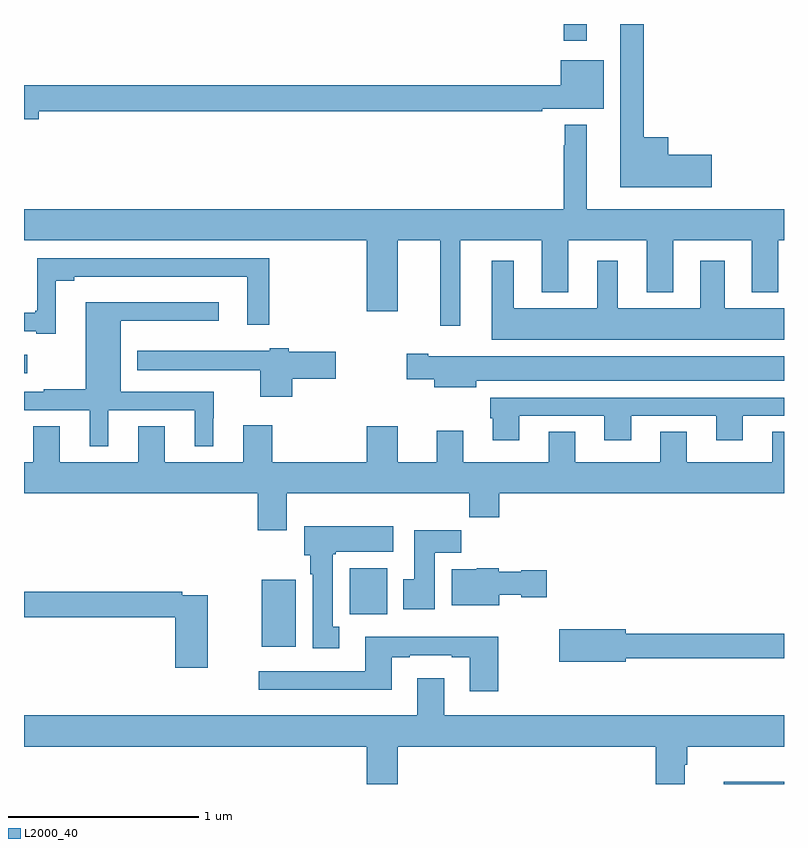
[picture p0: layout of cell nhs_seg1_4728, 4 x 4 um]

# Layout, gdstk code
import gdstk
lib = gdstk.Library(unit=1e-6, precision=1e-09)
def R(c, l, rs):  # rectangles x0, y0, x1, y1
    for r in rs: c.add(gdstk.rectangle(r[:2], r[2:], *l))
def P(c, l, *ps):  # polygons
    for p in ps: c.add(gdstk.Polygon(p, *l))
L2000_40 = (2000, 40)

nhs_seg1_4728 = lib.new_cell('nhs_seg1_4728')
R(nhs_seg1_4728, L2000_40, [(370.682,554.199,371,554.21), (368.252,554.922,368.431,555.274), (368.714,555.092,368.911,555.334), (367,556.362,367.018,556.458), (369.84,558.111,369.961,558.199)])
P(nhs_seg1_4728, L2000_40, [(370.621,557.51),(370.39,557.51),(370.39,557.602),(370.261,557.602),(370.261,558.199),(370.139,558.199),(370.139,557.339),(370.621,557.339)],
  [(367.078,557.74),(369.728,557.74),(369.728,557.753),(370.051,557.753),(370.051,558.007),(369.824,558.007),(369.824,557.876),(367,557.876),(367,557.698),(367.078,557.698)],
  [(367,557.06),(368.804,557.06),(368.804,556.686),(368.968,556.686),(368.968,557.06),(369.191,557.06),(369.191,556.611),(369.295,556.611),(369.295,557.06),(369.725,557.06),(369.725,556.787),(369.865,556.787),(369.865,557.06),(370.277,557.06),(370.277,556.787),(370.417,556.787),(370.417,557.06),(370.829,557.06),(370.829,556.787),(370.969,556.787),(370.969,557.06),(371,557.06),(371,557.224),(369.961,557.224),(369.961,557.668),(369.846,557.668),(369.846,557.561),(369.84,557.561),(369.84,557.224),(367,557.224)],
  [(367.168,556.849),(367.264,556.849),(367.264,556.868),(368.174,556.868),(368.174,556.617),(368.291,556.617),(368.291,556.965),(367.07,556.965),(367.07,556.69),(367.059,556.69),(367.059,556.679),(367,556.679),(367,556.581),(367.064,556.581),(367.064,556.569),(367.168,556.569)],
  [(371,556.702),(370.687,556.702),(370.687,556.954),(370.559,556.954),(370.559,556.702),(370.126,556.702),(370.126,556.954),(370.016,556.954),(370.016,556.702),(369.577,556.702),(369.577,556.954),(369.461,556.954),(369.461,556.538),(371,556.538)],
  [(367.444,556.167),(367.898,556.167),(367.898,555.977),(367.996,555.977),(367.996,556.124),(367.998,556.124),(367.998,556.263),(367.51,556.263),(367.51,556.637),(368.026,556.637),(368.026,556.735),(367.325,556.735),(367.325,556.276),(367.105,556.276),(367.105,556.263),(367,556.263),(367,556.167),(367.346,556.167),(367.346,555.977),(367.444,555.977)],
  [(368.411,556.333),(368.641,556.333),(368.641,556.475),(368.394,556.475),(368.394,556.493),(368.294,556.493),(368.294,556.48),(367.595,556.48),(367.595,556.376),(368.243,556.376),(368.243,556.236),(368.411,556.236)],
  [(369.379,556.322),(371,556.322),(371,556.45),(369.127,556.45),(369.127,556.463),(369.015,556.463),(369.015,556.328),(369.158,556.328),(369.158,556.286),(369.379,556.286)],
  [(369.607,556.137),(370.055,556.137),(370.055,556.008),(370.195,556.008),(370.195,556.137),(370.643,556.137),(370.643,556.008),(370.783,556.008),(370.783,556.137),(371,556.137),(371,556.233),(369.455,556.233),(369.455,556.125),(369.467,556.125),(369.467,556.008),(369.607,556.008)],
  [(368.383,555.728),(369.343,555.728),(369.343,555.604),(369.5,555.604),(369.5,555.728),(371,555.728),(371,556.052),(370.937,556.052),(370.937,555.892),(370.489,555.892),(370.489,556.052),(370.349,556.052),(370.349,555.892),(369.901,555.892),(369.901,556.052),(369.761,556.052),(369.761,555.892),(369.313,555.892),(369.313,556.057),(369.173,556.057),(369.173,555.892),(368.968,555.892),(368.968,556.081),(368.804,556.081),(368.804,555.892),(368.306,555.892),(368.306,556.087),(368.153,556.087),(368.153,555.892),(367.741,555.892),(367.741,556.082),(367.601,556.082),(367.601,555.892),(367.189,555.892),(367.189,556.082),(367.049,556.082),(367.049,555.892),(367,555.892),(367,555.728),(368.231,555.728),(368.231,555.534),(368.383,555.534)],
  [(368.659,555.026),(368.626,555.026),(368.626,555.409),(368.64,555.409),(368.64,555.422),(368.944,555.422),(368.944,555.556),(368.474,555.556),(368.474,555.402),(368.506,555.402),(368.506,555.302),(368.519,555.302),(368.519,554.913),(368.659,554.913)],
  [(369.163,555.416),(369.302,555.416),(369.302,555.535),(369.053,555.535),(369.053,555.276),(368.996,555.276),(368.996,555.12),(369.163,555.12)],
  [(369.502,555.194),(369.618,555.194),(369.618,555.182),(369.751,555.182),(369.751,555.324),(369.618,555.324),(369.618,555.316),(369.498,555.316),(369.498,555.334),(369.384,555.334),(369.384,555.328),(369.251,555.328),(369.251,555.14),(369.502,555.14)],
  [(367.966,555.192),(367.832,555.192),(367.832,555.212),(367,555.212),(367,555.076),(367.796,555.076),(367.796,554.811),(367.966,554.811)],
  [(370.168,554.862),(371,554.862),(371,554.99),(370.168,554.99),(370.168,555.014),(369.816,555.014),(369.816,554.843),(370.168,554.843)],
  [(369.495,554.974),(368.795,554.974),(368.795,554.793),(368.235,554.793),(368.235,554.696),(368.935,554.696),(368.935,554.865),(369.031,554.865),(369.031,554.877),(369.251,554.877),(369.251,554.865),(369.347,554.865),(369.347,554.688),(369.495,554.688)],
  [(368.968,554.396),(370.325,554.396),(370.325,554.199),(370.477,554.199),(370.477,554.3),(370.49,554.3),(370.49,554.396),(371,554.396),(371,554.56),(369.211,554.56),(369.211,554.755),(369.071,554.755),(369.071,554.56),(367,554.56),(367,554.396),(368.804,554.396),(368.804,554.199),(368.968,554.199)])

lib.write_gds('nhs_seg1_4728.gds')
